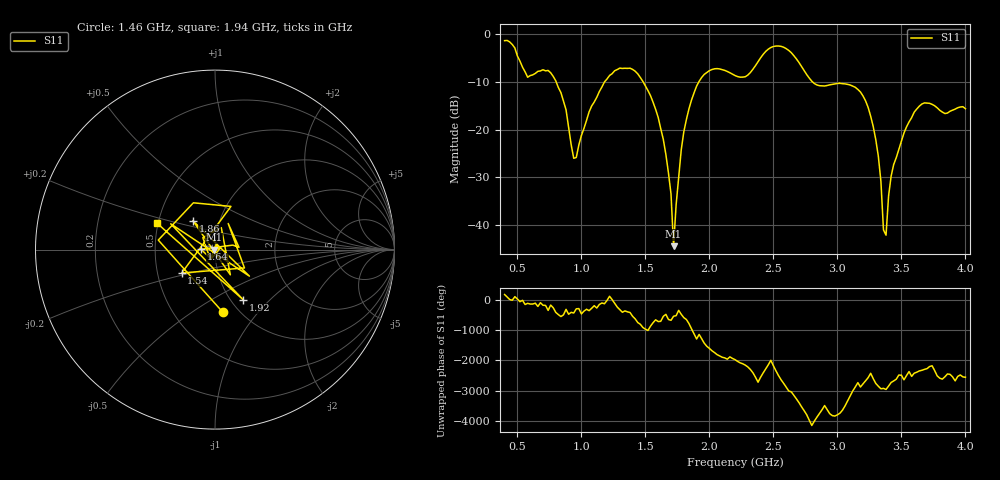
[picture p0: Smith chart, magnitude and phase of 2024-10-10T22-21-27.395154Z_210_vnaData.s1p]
! Created with skrf (http://scikit-rf.org).
# Hz S RI R 50.0
!freq ReS11 ImS11
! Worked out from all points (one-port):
!   181 points, 400 MHz to 4 GHz, reference 50 ohm
!   lowest |S11| = -44.4 dB at 1.72 GHz (marker M1), VSWR 1.01, Z = 49.4 - j0.0192 ohm
!   |S11| at or under -10 dB: 802.9 MHz to 1.18 GHz (377.5 MHz wide, 38.1 % of centre); 1.482 GHz to 1.917 GHz (435 MHz wide, 25.6 % of centre); 2.806 GHz to end of sweep
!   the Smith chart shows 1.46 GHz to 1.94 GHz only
!   S11 on the Smith chart (normalised r, x): 1.46 GHz: 0.85, -0.67; 1.54 GHz: 0.67, -0.18; 1.64 GHz: 0.85, +0.00; 1.86 GHz: 0.74, +0.25; 1.92 GHz: 1.14, -0.71; 1.94 GHz: 0.50, +0.16
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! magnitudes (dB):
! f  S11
! 400 MHz  -1.4
! 760 MHz  -8.1
! 860 MHz  -14.0
! 960 MHz  -25.8
! 1.08 GHz  -15.1
! 1.3 GHz  -7.1
! 1.46 GHz  -9.1
! 1.54 GHz  -12.9
! 1.64 GHz  -22.1
! 1.7 GHz  -33.5
! 1.72 GHz  -44.4
! 1.76 GHz  -30.0
! 1.86 GHz  -13.8
! 1.92 GHz  -9.9
! 1.94 GHz  -9.1
! 2.2 GHz  -8.7
! 2.5 GHz  -2.6
! 2.66 GHz  -4.5
! 2.84 GHz  -10.6
! 3.1 GHz  -10.7
! 3.28 GHz  -19.4
! 3.34 GHz  -30.8
! 3.36 GHz  -41.0
! 3.38 GHz  -42.1
! 3.42 GHz  -29.7
! 3.56 GHz  -18.4
! 3.68 GHz  -14.4
! 4 GHz  -15.6
